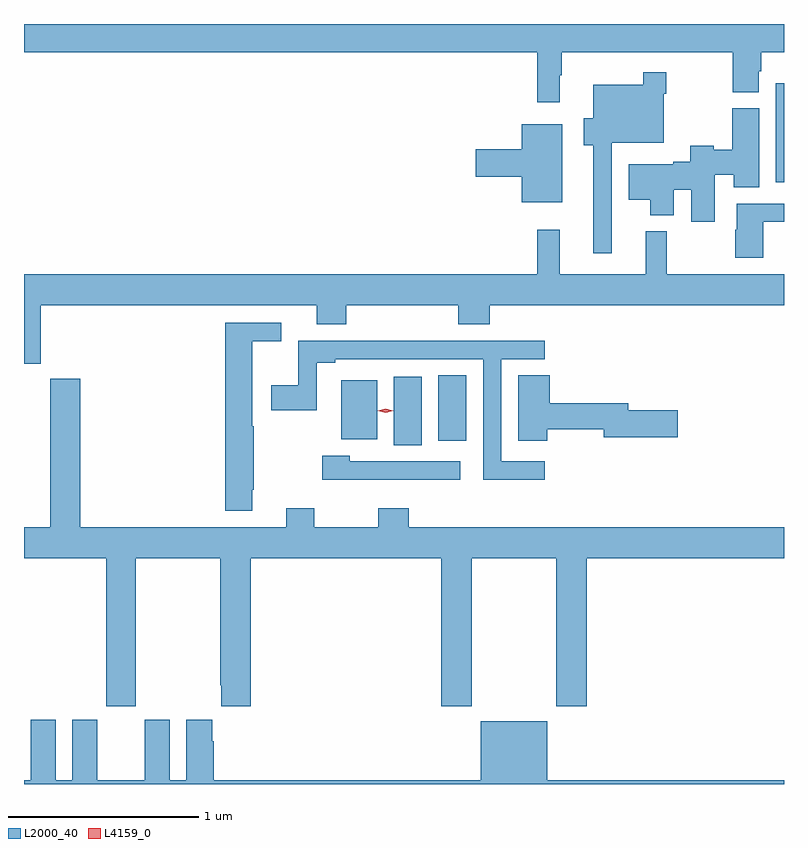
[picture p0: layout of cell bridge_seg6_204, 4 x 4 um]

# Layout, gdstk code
import gdstk
lib = gdstk.Library(unit=1e-6, precision=1e-09)
def R(c, l, rs):  # rectangles x0, y0, x1, y1
    for r in rs: c.add(gdstk.rectangle(r[:2], r[2:], *l))
def P(c, l, *ps):  # polygons
    for p in ps: c.add(gdstk.Polygon(p, *l))
L2000_40 = (2000, 40)
L4159_0 = (4159, 0)

bridge_seg6_204 = lib.new_cell('bridge_seg6_204')
R(bridge_seg6_204, L2000_40, [(240.164,970.576,240.31,970.936), (240.398,970.599,240.544,970.943), (239.888,970.607,240.076,970.918), (242.174,971.96,242.217,972.481)])
P(bridge_seg6_204, L2000_40, [(241.036,972.521),(241.048,972.521),(241.048,972.644),(241.948,972.644),(241.948,972.433),(242.083,972.433),(242.083,972.543),(242.096,972.543),(242.096,972.644),(242.217,972.644),(242.217,972.792),(238.217,972.792),(238.217,972.644),(240.919,972.644),(240.919,972.381),(241.036,972.381)],
  [(241.311,972.167),(241.584,972.167),(241.584,972.425),(241.597,972.425),(241.597,972.538),(241.476,972.538),(241.476,972.472),(241.214,972.472),(241.214,972.297),(241.163,972.297),(241.163,972.155),(241.214,972.155),(241.214,971.586),(241.311,971.586)],
  [(241.852,971.999),(241.952,971.999),(241.952,971.932),(242.086,971.932),(242.086,972.348),(241.945,972.348),(241.945,972.129),(241.848,972.129),(241.848,972.152),(241.723,972.152),(241.723,972.068),(241.634,972.068),(241.634,972.055),(241.4,972.055),(241.4,971.867),(241.514,971.867),(241.514,971.786),(241.636,971.786),(241.636,971.92),(241.73,971.92),(241.73,971.751),(241.852,971.751)],
  [(241.051,972.265),(240.836,972.265),(240.836,972.134),(240.594,972.134),(240.594,971.987),(240.836,971.987),(240.836,971.855),(241.051,971.855)],
  [(242.107,971.751),(242.217,971.751),(242.217,971.847),(241.967,971.847),(241.967,971.709),(241.96,971.709),(241.96,971.562),(242.107,971.562)],
  [(238.306,971.312),(239.759,971.312),(239.759,971.213),(239.912,971.213),(239.912,971.312),(240.503,971.312),(240.503,971.213),(240.668,971.213),(240.668,971.312),(242.217,971.312),(242.217,971.476),(241.6,971.476),(241.6,971.701),(241.49,971.701),(241.49,971.476),(241.037,971.476),(241.037,971.71),(240.919,971.71),(240.919,971.476),(238.217,971.476),(238.217,971.003),(238.306,971.003)],
  [(239.419,970.342),(239.427,970.342),(239.427,970.676),(239.419,970.676),(239.419,971.122),(239.572,971.122),(239.572,971.22),(239.276,971.22),(239.276,970.23),(239.419,970.23)],
  [(240.958,970.491),(240.729,970.491),(240.729,971.028),(240.958,971.028),(240.958,971.126),(240.736,971.126),(240.736,971.124),(240.419,971.124),(240.419,971.126),(239.995,971.126),(239.995,971.124),(239.661,971.124),(239.661,970.891),(239.517,970.891),(239.517,970.76),(239.758,970.76),(239.758,971.008),(239.854,971.008),(239.854,971.028),(240.633,971.028),(240.633,970.393),(240.958,970.393)],
  [(240.97,970.66),(241.268,970.66),(241.268,970.618),(241.657,970.618),(241.657,970.76),(241.396,970.76),(241.396,970.796),(240.983,970.796),(240.983,970.943),(240.818,970.943),(240.818,970.599),(240.97,970.599)],
  [(238.806,969.98),(239.251,969.98),(239.251,969.313),(239.255,969.313),(239.255,969.201),(239.411,969.201),(239.411,969.98),(240.413,969.98),(240.413,969.201),(240.573,969.201),(240.573,969.98),(241.018,969.98),(241.018,969.201),(241.178,969.201),(241.178,969.98),(242.217,969.98),(242.217,970.144),(240.242,970.144),(240.242,970.243),(240.082,970.243),(240.082,970.144),(239.745,970.144),(239.745,970.243),(239.597,970.243),(239.597,970.144),(238.514,970.144),(238.514,970.924),(238.354,970.924),(238.354,970.144),(238.217,970.144),(238.217,969.98),(238.651,969.98),(238.651,969.201),(238.806,969.201)],
  [(240.514,970.491),(239.931,970.491),(239.931,970.519),(239.787,970.519),(239.787,970.394),(240.514,970.394)],
  [(240.97,969.121),(240.62,969.121),(240.62,968.812),(239.216,968.812),(239.216,969.017),(239.209,969.017),(239.209,969.13),(239.072,969.13),(239.072,968.812),(238.984,968.812),(238.984,969.13),(238.853,969.13),(238.853,968.812),(238.603,968.812),(238.603,969.13),(238.472,969.13),(238.472,968.812),(238.384,968.812),(238.384,969.13),(238.253,969.13),(238.253,968.812),(238.217,968.812),(238.217,968.792),(242.217,968.792),(242.217,968.812),(240.97,968.812)])
P(bridge_seg6_204, L4159_0, [(240.12,970.747),(240.08,970.757),(240.08,970.757),(240.08,970.757),(240.12,970.767),(240.16,970.757),(240.161,970.757),(240.16,970.757)])

lib.write_gds('bridge_seg6_204.gds')
